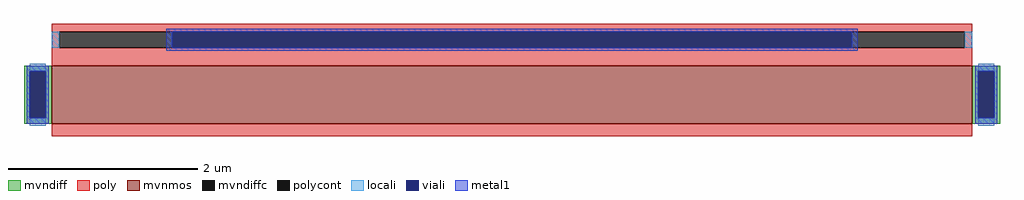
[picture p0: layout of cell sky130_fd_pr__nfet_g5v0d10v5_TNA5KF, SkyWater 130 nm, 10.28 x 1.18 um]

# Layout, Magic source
magic
tech sky130A
<< mvnmos >>
rect -485 -46 485 15
<< mvndiff >>
rect -514 9 -485 15
rect -514 -40 -508 9
rect -491 -40 -485 9
rect -514 -46 -485 -40
rect 485 9 514 15
rect 485 -40 491 9
rect 508 -40 514 9
rect 485 -46 514 -40
<< mvndiffc >>
rect -508 -40 -491 9
rect 491 -40 508 9
<< poly >>
rect -485 51 485 59
rect -485 34 -477 51
rect 477 34 485 51
rect -485 15 485 34
rect -485 -59 485 -46
<< polycont >>
rect -477 34 477 51
<< locali >>
rect -485 34 -477 51
rect 477 34 485 51
rect -508 9 -491 17
rect -508 -48 -491 -40
rect 491 9 508 17
rect 491 -48 508 -40
<< viali >>
rect -358 34 358 51
rect -508 -40 -491 9
rect 491 -40 508 9
<< metal1 >>
rect -364 51 364 54
rect -364 34 -358 51
rect 358 34 364 51
rect -364 31 364 34
rect -511 9 -488 15
rect -511 -40 -508 9
rect -491 -40 -488 9
rect -511 -46 -488 -40
rect 488 9 511 15
rect 488 -40 491 9
rect 508 -40 511 9
rect 488 -46 511 -40
<< properties >>
string gencell sky130_fd_pr__nfet_g5v0d10v5
string library sky130
string parameters w 0.61 l 9.7 m 1 nf 1 diffcov 100 polycov 100 guard 0 glc 1 grc 1 gtc 1 gbc 1 tbcov 100 rlcov 100 topc 1 botc 0 poverlap 0 doverlap 1 lmin 0.50 wmin 0.42 compatible {sky130_fd_pr__nfet_01v8 sky130_fd_pr__nfet_01v8_lvt  sky130_fd_bs_flash__special_sonosfet_star  sky130_fd_pr__nfet_g5v0d10v5 sky130_fd_pr__nfet_05v0_nvt  sky130_fd_pr__nfet_03v3_nvt} full_metal 1 viasrc 100 viadrn 100 viagate 75 viagb 0 viagr 0 viagl 0 viagt 0
<< end >>
